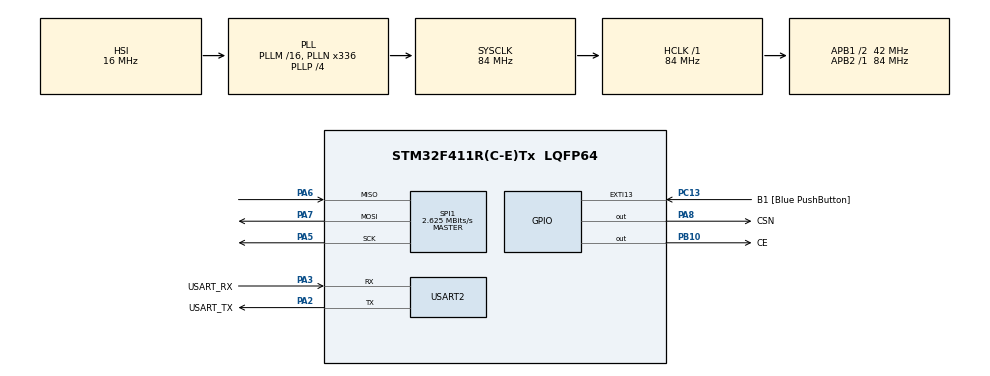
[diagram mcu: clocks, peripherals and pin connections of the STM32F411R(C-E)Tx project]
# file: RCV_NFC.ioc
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Mcu.Family=STM32F4
Mcu.Name=STM32F411R(C-E)Tx
Mcu.Package=LQFP64
NVIC.PriorityGroup=NVIC_PRIORITYGROUP_0
PA13.GPIO_Label=TMS
PA13.Mode=Serial_Wire
PA13.Signal=SYS_JTMS-SWDIO
PA14.GPIO_Label=TCK
PA14.Mode=Serial_Wire
PA14.Signal=SYS_JTCK-SWCLK
PA2.GPIO_Label=USART_TX
PA2.Mode=Asynchronous
PA2.Signal=USART2_TX
PA3.GPIO_Label=USART_RX
PA3.Mode=Asynchronous
PA3.Signal=USART2_RX
PA5.Mode=Full_Duplex_Master
PA5.Signal=SPI1_SCK
PA6.Mode=Full_Duplex_Master
PA6.Signal=SPI1_MISO
PA7.Mode=Full_Duplex_Master
PA7.Signal=SPI1_MOSI
PA8.GPIO_Label=CSN
PA8.PinState=GPIO_PIN_SET
PA8.Signal=GPIO_Output
PB10.GPIO_Label=CE
PB10.Signal=GPIO_Output
PB3.GPIO_Label=SWO
PB3.Signal=SYS_JTDO-SWO
PC13-ANTI_TAMP.GPIO_Label=B1 [Blue PushButton]
PC13-ANTI_TAMP.GPIO_ModeDefaultEXTI=GPIO_MODE_IT_FALLING
PC13-ANTI_TAMP.Signal=GPXTI13
PC14-OSC32_IN.Mode=LSE-External-Oscillator
PC14-OSC32_IN.Signal=RCC_OSC32_IN
PC15-OSC32_OUT.Mode=LSE-External-Oscillator
PC15-OSC32_OUT.Signal=RCC_OSC32_OUT
PH0\ -\ OSC_IN.Mode=HSE-External-Clock-Source
PH0\ -\ OSC_IN.Signal=RCC_OSC_IN
PH1\ -\ OSC_OUT.Mode=HSE-External-Clock-Source
PH1\ -\ OSC_OUT.Signal=RCC_OSC_OUT
ProjectManager.HeapSize=0x200
ProjectManager.StackSize=0x400
ProjectManager.TargetToolchain=MDK-ARM V5
RCC.48MHZClocksFreq_Value=84000000
RCC.AHBFreq_Value=84000000
RCC.APB1CLKDivider=RCC_HCLK_DIV2
RCC.APB1Freq_Value=42000000
RCC.APB1TimFreq_Value=84000000
RCC.APB2Freq_Value=84000000
RCC.APB2TimFreq_Value=84000000
RCC.CortexFreq_Value=84000000
RCC.FLatency-AdvancedSettings=FLASH_LATENCY_2
RCC.HCLKFreq_Value=84000000
RCC.HSE_VALUE=8000000
RCC.HSI_VALUE=16000000
RCC.PLLN=336
RCC.PLLP=RCC_PLLP_DIV4
RCC.SYSCLKFreq_VALUE=84000000
RCC.SYSCLKSource=RCC_SYSCLKSOURCE_PLLCLK
RCC.VCOOutputFreq_Value=336000000
SPI1.BaudRatePrescaler=SPI_BAUDRATEPRESCALER_32
SPI1.CalculateBaudRate=2.625 MBits/s
SPI1.Direction=SPI_DIRECTION_2LINES
SPI1.Mode=SPI_MODE_MASTER
SPI1.VirtualType=VM_MASTER
USART2.VirtualMode=VM_ASYNC
board=NUCLEO-F411RE

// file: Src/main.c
/* USER CODE BEGIN Header */
/**
  ******************************************************************************
  * @file           : main.c
  * @brief          : Main program body
  ******************************************************************************
  * @attention
  *
  * <h2><center>&copy; Copyright (c) 2019 STMicroelectronics.
  * All rights reserved.</center></h2>
  *
  * This software component is licensed by ST under BSD 3-Clause license,
  * the "License"; You may not use this file except in compliance with the
  * License. You may obtain a copy of the License at:
  *                        opensource.org/licenses/BSD-3-Clause
  *
  ******************************************************************************
  */
/* USER CODE END Header */

#include "main.h"

/* USER CODE BEGIN Includes */
#include "nrf24l01.h"

/* USER CODE END Includes */

SPI_HandleTypeDef hspi1;

UART_HandleTypeDef huart2;

void SystemClock_Config(void);
static void MX_GPIO_Init(void);
static void MX_SPI1_Init(void);
static void MX_USART2_UART_Init(void);

/* USER CODE BEGIN 0 */
/* My address */
uint8_t TxAddress[] = {
	0xE7,
	0xE7,
	0xE7,
	0xE7,
	0xE7
};
/* Receiver address */
uint8_t MyAddress[] = {
	0x7E,
	0x7E,
	0x7E,
	0x7E,
	0x7E
};

 uint8_t dataIn[32]="cc";
/* USER CODE END 0 */

int main(void)
{
  /* USER CODE BEGIN 1 */
	TM_NRF24L01_Transmit_Status_t transmissionStatus;
  /* USER CODE END 1 */

  /* MCU Configuration--------------------------------------------------------*/

  /* Reset of all peripherals, Initializes the Flash interface and the Systick. */
  HAL_Init();

  /* Configure the system clock */
  SystemClock_Config();

  /* Initialize all configured peripherals */
  MX_GPIO_Init();
  MX_SPI1_Init();
  MX_USART2_UART_Init();
  /* USER CODE BEGIN 2 */
	TM_NRF24L01_SoftwareReset(&hspi1);							// reset logiciel du module
	TM_NRF24L01_Init(&hspi1, 50, 32);							// paramétrage de la bande radio 2.4Ghz + 50Mhz, 32 bit de payload
	TM_NRF24L01_setCrcWidth(&hspi1, 8);							// paramétrage du crc : 8 bits
	TM_NRF24L01_disableAutoAcknowledge(&hspi1);					// désactivation de l'auto acknowledge
	TM_NRF24L01_SetMyAddress(&hspi1,MyAddress);					// paramétrage de l'adresse de réception
	TM_NRF24L01_SetTxAddress(&hspi1,TxAddress);					// paramétrage de l'adresse de transmission
	TM_NRF24L01_SetChannel(&hspi1, 50);							// paramétrage de la bande radio 2.4Ghz + 50Mhz, redondant
	TM_NRF24L01_SetRF(&hspi1, TM_NRF24L01_DataRate_1M, TM_NRF24L01_OutputPower_0dBm);	// paramétrage de la vitesse de transmission radio et puissance d'émission
	TM_NRF24L01_PowerUpRx(&hspi1);								// mise en mode réception.( faible consommation dans ce mode )
  /* USER CODE END 2 */

  /* Infinite loop */
  /* USER CODE BEGIN WHILE */
  while (1)
  {

			/* If data is ready on NRF24L01 */
			/* Get data from NRF24L01*/
			TM_NRF24L01_GetData(&hspi1,dataIn);
    /* USER CODE END WHILE */

  }
}

void SystemClock_Config(void)
{
  RCC_OscInitTypeDef RCC_OscInitStruct = {0};
  RCC_ClkInitTypeDef RCC_ClkInitStruct = {0};

  /** Configure the main internal regulator output voltage
  */
  __HAL_RCC_PWR_CLK_ENABLE();
  __HAL_PWR_VOLTAGESCALING_CONFIG(PWR_REGULATOR_VOLTAGE_SCALE1);
  /** Initializes the CPU, AHB and APB busses clocks
  */
  RCC_OscInitStruct.OscillatorType = RCC_OSCILLATORTYPE_HSI;
  RCC_OscInitStruct.HSIState = RCC_HSI_ON;
  RCC_OscInitStruct.HSICalibrationValue = RCC_HSICALIBRATION_DEFAULT;
  RCC_OscInitStruct.PLL.PLLState = RCC_PLL_ON;
  RCC_OscInitStruct.PLL.PLLSource = RCC_PLLSOURCE_HSI;
  RCC_OscInitStruct.PLL.PLLM = 16;
  RCC_OscInitStruct.PLL.PLLN = 336;
  RCC_OscInitStruct.PLL.PLLP = RCC_PLLP_DIV4;
  RCC_OscInitStruct.PLL.PLLQ = 4;
  if (HAL_RCC_OscConfig(&RCC_OscInitStruct) != HAL_OK)
  {
    Error_Handler();
  }
  /** Initializes the CPU, AHB and APB busses clocks
  */
  RCC_ClkInitStruct.ClockType = RCC_CLOCKTYPE_HCLK|RCC_CLOCKTYPE_SYSCLK
                              |RCC_CLOCKTYPE_PCLK1|RCC_CLOCKTYPE_PCLK2;
  RCC_ClkInitStruct.SYSCLKSource = RCC_SYSCLKSOURCE_PLLCLK;
  RCC_ClkInitStruct.AHBCLKDivider = RCC_SYSCLK_DIV1;
  RCC_ClkInitStruct.APB1CLKDivider = RCC_HCLK_DIV2;
  RCC_ClkInitStruct.APB2CLKDivider = RCC_HCLK_DIV1;

  if (HAL_RCC_ClockConfig(&RCC_ClkInitStruct, FLASH_LATENCY_2) != HAL_OK)
  {
    Error_Handler();
  }
}

static void MX_SPI1_Init(void)
{

  /* SPI1 parameter configuration*/
  hspi1.Instance = SPI1;
  hspi1.Init.Mode = SPI_MODE_MASTER;
  hspi1.Init.Direction = SPI_DIRECTION_2LINES;
  hspi1.Init.DataSize = SPI_DATASIZE_8BIT;
  hspi1.Init.CLKPolarity = SPI_POLARITY_LOW;
  hspi1.Init.CLKPhase = SPI_PHASE_1EDGE;
  hspi1.Init.NSS = SPI_NSS_SOFT;
  hspi1.Init.BaudRatePrescaler = SPI_BAUDRATEPRESCALER_32;
  hspi1.Init.FirstBit = SPI_FIRSTBIT_MSB;
  hspi1.Init.TIMode = SPI_TIMODE_DISABLE;
  hspi1.Init.CRCCalculation = SPI_CRCCALCULATION_DISABLE;
  hspi1.Init.CRCPolynomial = 10;
  if (HAL_SPI_Init(&hspi1) != HAL_OK)
  {
    Error_Handler();
  }

}

static void MX_USART2_UART_Init(void)
{

  huart2.Instance = USART2;
  huart2.Init.BaudRate = 115200;
  huart2.Init.WordLength = UART_WORDLENGTH_8B;
  huart2.Init.StopBits = UART_STOPBITS_1;
  huart2.Init.Parity = UART_PARITY_NONE;
  huart2.Init.Mode = UART_MODE_TX_RX;
  huart2.Init.HwFlowCtl = UART_HWCONTROL_NONE;
  huart2.Init.OverSampling = UART_OVERSAMPLING_16;
  if (HAL_UART_Init(&huart2) != HAL_OK)
  {
    Error_Handler();
  }

}

static void MX_GPIO_Init(void)
{
  GPIO_InitTypeDef GPIO_InitStruct = {0};

  /* GPIO Ports Clock Enable */
  __HAL_RCC_GPIOC_CLK_ENABLE();
  __HAL_RCC_GPIOH_CLK_ENABLE();
  __HAL_RCC_GPIOA_CLK_ENABLE();
  __HAL_RCC_GPIOB_CLK_ENABLE();

  /*Configure GPIO pin Output Level */
  HAL_GPIO_WritePin(CE_GPIO_Port, CE_Pin, GPIO_PIN_RESET);

  /*Configure GPIO pin Output Level */
  HAL_GPIO_WritePin(CSN_GPIO_Port, CSN_Pin, GPIO_PIN_SET);

  /*Configure GPIO pin : B1_Pin */
  GPIO_InitStruct.Pin = B1_Pin;
  GPIO_InitStruct.Mode = GPIO_MODE_IT_FALLING;
  GPIO_InitStruct.Pull = GPIO_NOPULL;
  HAL_GPIO_Init(B1_GPIO_Port, &GPIO_InitStruct);

  /*Configure GPIO pin : CE_Pin */
  GPIO_InitStruct.Pin = CE_Pin;
  GPIO_InitStruct.Mode = GPIO_MODE_OUTPUT_PP;
  GPIO_InitStruct.Pull = GPIO_NOPULL;
  GPIO_InitStruct.Speed = GPIO_SPEED_FREQ_LOW;
  HAL_GPIO_Init(CE_GPIO_Port, &GPIO_InitStruct);

  /*Configure GPIO pin : CSN_Pin */
  GPIO_InitStruct.Pin = CSN_Pin;
  GPIO_InitStruct.Mode = GPIO_MODE_OUTPUT_PP;
  GPIO_InitStruct.Pull = GPIO_NOPULL;
  GPIO_InitStruct.Speed = GPIO_SPEED_FREQ_LOW;
  HAL_GPIO_Init(CSN_GPIO_Port, &GPIO_InitStruct);

}

void Error_Handler(void)
{
}

/************************ (C) COPYRIGHT STMicroelectronics *****END OF FILE****/
